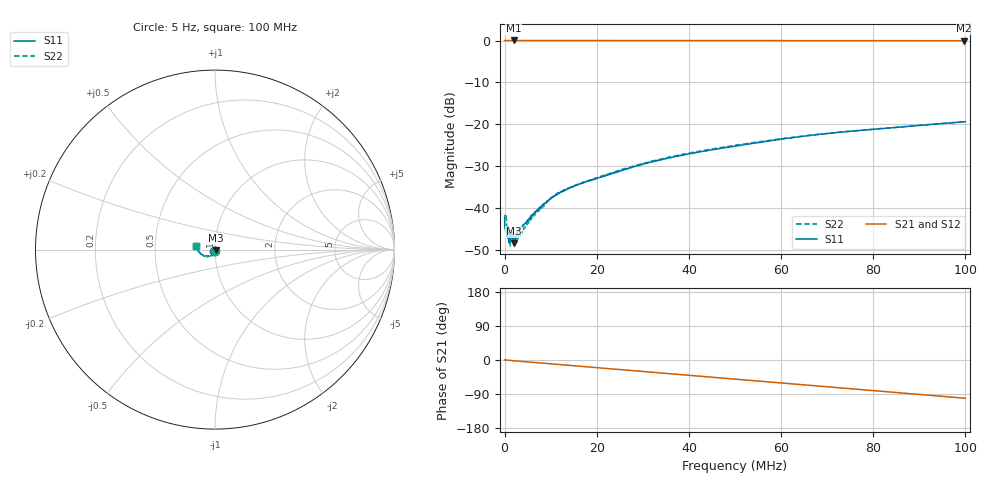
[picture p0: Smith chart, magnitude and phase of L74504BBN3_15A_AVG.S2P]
!Agilent Technologies,E5061B,MY49102235,A.02.00
!Date: Tue Jul 11 15:28:52 2023
!Data & Calibration Information:
!Freq	S11:SOLT2(ON)	S21:SOLT2(ON)	S12:SOLT2(ON)	S22:SOLT2(ON)
# Hz S RI R 50
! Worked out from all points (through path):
!   1600 points, 5 Hz to 100 MHz, reference 50 ohm
!   highest |S21| = 0.02 dB at 1.939 MHz (marker M1); lowest = 0.0 dB at 99.75 MHz (marker M2)
!   group delay of S21, straight-line fit = 2.81 ns
!   lowest |S11| = -48.4 dB at 1.939 MHz (marker M3), VSWR 1.01, Z = 50.3 - j0.219 ohm
!   |S11| at or under -10 dB: start of sweep to end of sweep
!   |S22| runs from -49.0 to -19.4 dB; largest |S21 - S12| = 0.0026
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5  -0.00519 -0.00563  1.002 0.00804  1 0.0102  -0.00146 -0.00757
437778.6  0.00514 -0.000558  1.001 -0.00541  1.001 -0.00607  0.0066 -0.00221
625395.8  0.00507 -0.000569  1.002 -0.0106  1.002 -0.0101  0.0061 -0.000958
938091.3  0.00432 -0.000349  1.001 -0.0152  1.001 -0.0148  0.00591 -0.000908
1500943  0.00435 -0.00239  1.001 -0.025  1.002 -0.0251  0.00303 -0.00355
1938717  0.00313 -0.00217  1.002 -0.0338  1.001 -0.0334  0.00342 -0.00192
2376490  0.00331 -0.00281  0.9998 -0.0415  1 -0.0417  0.00396 -0.00247
3252037  0.00426 -0.00391  0.9993 -0.0571  0.9992 -0.057  0.00317 -0.00343
6003757  0.00337 -0.00738  0.9953 -0.1054  0.9954 -0.1052  0.00293 -0.00721
9505946  0.00159 -0.0123  0.987 -0.1669  0.9871 -0.1666  0.000994 -0.0123
1.156974e7  0.00014 -0.015  0.9804 -0.2025  0.9801 -0.2023  -0.000723 -0.0151
1.669794e7  -0.00352 -0.0195  0.9574 -0.2902  0.9574 -0.2899  -0.00386 -0.0196
2.582865e7  -0.0104 -0.0267  0.8988 -0.4398  0.8985 -0.4397  -0.00821 -0.0282
3.333334e7  -0.0187 -0.0322  0.8323 -0.5545  0.8323 -0.5541  -0.0173 -0.0337
4.033771e7  -0.0274 -0.0356  0.7575 -0.6523  0.7575 -0.652  -0.027 -0.0371
5.003127e7  -0.0407 -0.037  0.6352 -0.7716  0.6351 -0.7713  -0.041 -0.0385
6.672921e7  -0.0681 -0.0306  0.3834 -0.9213  0.3837 -0.9213  -0.0674 -0.0317
7.53596e7  -0.0804 -0.0215  0.2394 -0.9679  0.2395 -0.9678  -0.0799 -0.0231
8.33646e7  -0.09 -0.00964  0.1011 -0.9914  0.101 -0.9915  -0.0898 -0.0122
9.155722e7  -0.0988 0.00462  -0.0427 -0.9947  -0.0427 -0.9947  -0.0992 0.000902
9.974984e7  -0.1056 0.0204  -0.1851 -0.9771  -0.1849 -0.9774  -0.1059 0.017
1e8  -0.1057 0.0209  -0.1894 -0.9765  -0.1892 -0.9766  -0.1062 0.0177
